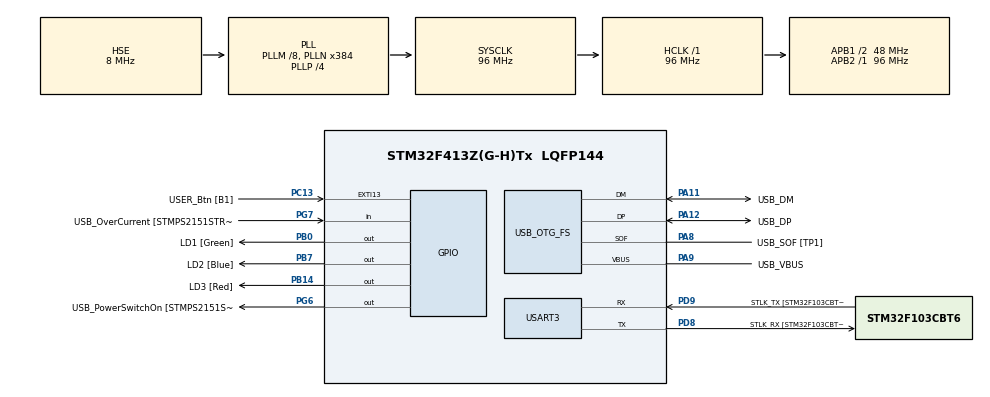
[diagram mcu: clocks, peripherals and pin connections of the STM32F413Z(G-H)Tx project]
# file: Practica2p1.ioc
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Mcu.Family=STM32F4
Mcu.Name=STM32F413Z(G-H)Tx
Mcu.Package=LQFP144
NVIC.PriorityGroup=NVIC_PRIORITYGROUP_4
PA10.GPIO_Label=USB_ID
PA10.Signal=USB_OTG_FS_ID
PA11.GPIO_Label=USB_DM
PA11.Mode=Device_Only
PA11.Signal=USB_OTG_FS_DM
PA12.GPIO_Label=USB_DP
PA12.Mode=Device_Only
PA12.Signal=USB_OTG_FS_DP
PA13.GPIO_Label=TMS
PA13.Mode=Serial_Wire
PA13.Signal=SYS_JTMS-SWDIO
PA14.GPIO_Label=TCK
PA14.Mode=Serial_Wire
PA14.Signal=SYS_JTCK-SWCLK
PA8.GPIO_Label=USB_SOF [TP1]
PA8.Mode=Activate_SOF_FS
PA8.Signal=USB_OTG_FS_SOF
PA9.GPIO_Label=USB_VBUS
PA9.Mode=Activate_VBUS
PA9.Signal=USB_OTG_FS_VBUS
PB0.GPIO_Label=LD1 [Green]
PB0.Signal=GPIO_Output
PB14.GPIO_Label=LD3 [Red]
PB14.Signal=GPIO_Output
PB3.GPIO_Label=SWO
PB3.Signal=SYS_JTDO-SWO
PB7.GPIO_Label=LD2 [Blue]
PB7.Signal=GPIO_Output
PC13.GPIO_Label=USER_Btn [B1]
PC13.Signal=GPXTI13
PC14-OSC32_IN.Mode=LSE-External-Oscillator
PC14-OSC32_IN.Signal=RCC_OSC32_IN
PC15-OSC32_OUT.Mode=LSE-External-Oscillator
PC15-OSC32_OUT.Signal=RCC_OSC32_OUT
PD8.GPIO_Label=STLK_RX [STM32F103CBT6_PA3]
PD8.Mode=Asynchronous
PD8.Signal=USART3_TX
PD9.GPIO_Label=STLK_TX [STM32F103CBT6_PA2]
PD9.Mode=Asynchronous
PD9.Signal=USART3_RX
PG6.GPIO_Label=USB_PowerSwitchOn [STMPS2151STR_EN]
PG6.Signal=GPIO_Output
PG7.GPIO_Label=USB_OverCurrent [STMPS2151STR_FAULT]
PG7.Signal=GPIO_Input
PH0\ -\ OSC_IN.GPIO_Label=MCO
PH0\ -\ OSC_IN.Mode=HSE-External-Clock-Source
PH0\ -\ OSC_IN.Signal=RCC_OSC_IN
PH1\ -\ OSC_OUT.Mode=HSE-External-Clock-Source
PH1\ -\ OSC_OUT.Signal=RCC_OSC_OUT
ProjectManager.HeapSize=0x200
ProjectManager.StackSize=0x400
ProjectManager.TargetToolchain=STM32CubeIDE
RCC.48MHZClocksFreq_Value=24000000
RCC.AHBFreq_Value=96000000
RCC.APB1CLKDivider=RCC_HCLK_DIV2
RCC.APB1Freq_Value=48000000
RCC.APB1TimFreq_Value=96000000
RCC.APB2Freq_Value=96000000
RCC.APB2TimFreq_Value=96000000
RCC.CortexFreq_Value=96000000
RCC.HCLKFreq_Value=96000000
RCC.HSE_VALUE=8000000
RCC.HSI_VALUE=16000000
RCC.PLLM=8
RCC.PLLMUL=RCC_PLL_MUL9
RCC.PLLN=384
RCC.PLLP=RCC_PLLP_DIV4
RCC.PLLQ=8
RCC.PRESCALERUSB=RCC_USBCLKSOURCE_PLL_DIV1_5
RCC.SYSCLKFreq_VALUE=96000000
RCC.SYSCLKSource=RCC_SYSCLKSOURCE_PLLCLK
RCC.SYSCLKSourceVirtual=RCC_SYSCLKSOURCE_PLLCLK
RCC.USBFreq_Value=48000000
RCC.VCOOutputFreq_Value=384000000
USART3.VirtualMode=VM_ASYNC
USB_OTG_FS.VirtualMode=Device_Only
board=NUCLEO-F413ZH

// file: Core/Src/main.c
/* USER CODE BEGIN Header */
/**
  ******************************************************************************
  * @file           : main.c
  * @brief          : Main program body
  ******************************************************************************
  * @attention
  *
  * Copyright (c) 2023 STMicroelectronics.
  * All rights reserved.
  *
  * This software is licensed under terms that can be found in the LICENSE file
  * in the root directory of this software component.
  * If no LICENSE file comes with this software, it is provided AS-IS.
  *
  ******************************************************************************
  */
/* USER CODE END Header */
#include "main.h"

UART_HandleTypeDef huart3;

PCD_HandleTypeDef hpcd_USB_OTG_FS;

void SystemClock_Config(void);
static void MX_GPIO_Init(void);
static void MX_USART3_UART_Init(void);
static void MX_USB_OTG_FS_PCD_Init(void);

int main(void)
{

  /* MCU Configuration--------------------------------------------------------*/

  /* Reset of all peripherals, Initializes the Flash interface and the Systick. */
  HAL_Init();

  /* Configure the system clock */
  SystemClock_Config();

  /* Initialize all configured peripherals */
  MX_GPIO_Init();
  MX_USART3_UART_Init();
  MX_USB_OTG_FS_PCD_Init();

  /* Infinite loop */
  while (1)
  {

  }
}

void SystemClock_Config(void)
{
  RCC_OscInitTypeDef RCC_OscInitStruct = {0};
  RCC_ClkInitTypeDef RCC_ClkInitStruct = {0};

  /** Configure the main internal regulator output voltage
  */
  __HAL_RCC_PWR_CLK_ENABLE();
  __HAL_PWR_VOLTAGESCALING_CONFIG(PWR_REGULATOR_VOLTAGE_SCALE1);

  /** Initializes the RCC Oscillators according to the specified parameters
  * in the RCC_OscInitTypeDef structure.
  */
  RCC_OscInitStruct.OscillatorType = RCC_OSCILLATORTYPE_HSE;
  RCC_OscInitStruct.HSEState = RCC_HSE_BYPASS;
  RCC_OscInitStruct.PLL.PLLState = RCC_PLL_ON;
  RCC_OscInitStruct.PLL.PLLSource = RCC_PLLSOURCE_HSE;
  RCC_OscInitStruct.PLL.PLLM = 8;
  RCC_OscInitStruct.PLL.PLLN = 384;
  RCC_OscInitStruct.PLL.PLLP = RCC_PLLP_DIV4;
  RCC_OscInitStruct.PLL.PLLQ = 8;
  RCC_OscInitStruct.PLL.PLLR = 2;
  if (HAL_RCC_OscConfig(&RCC_OscInitStruct) != HAL_OK)
  {
    Error_Handler();
  }

  /** Initializes the CPU, AHB and APB buses clocks
  */
  RCC_ClkInitStruct.ClockType = RCC_CLOCKTYPE_HCLK|RCC_CLOCKTYPE_SYSCLK
                              |RCC_CLOCKTYPE_PCLK1|RCC_CLOCKTYPE_PCLK2;
  RCC_ClkInitStruct.SYSCLKSource = RCC_SYSCLKSOURCE_PLLCLK;
  RCC_ClkInitStruct.AHBCLKDivider = RCC_SYSCLK_DIV1;
  RCC_ClkInitStruct.APB1CLKDivider = RCC_HCLK_DIV2;
  RCC_ClkInitStruct.APB2CLKDivider = RCC_HCLK_DIV1;

  if (HAL_RCC_ClockConfig(&RCC_ClkInitStruct, FLASH_LATENCY_3) != HAL_OK)
  {
    Error_Handler();
  }
}

static void MX_USART3_UART_Init(void)
{

  huart3.Instance = USART3;
  huart3.Init.BaudRate = 115200;
  huart3.Init.WordLength = UART_WORDLENGTH_8B;
  huart3.Init.StopBits = UART_STOPBITS_1;
  huart3.Init.Parity = UART_PARITY_NONE;
  huart3.Init.Mode = UART_MODE_TX_RX;
  huart3.Init.HwFlowCtl = UART_HWCONTROL_NONE;
  huart3.Init.OverSampling = UART_OVERSAMPLING_16;
  if (HAL_UART_Init(&huart3) != HAL_OK)
  {
    Error_Handler();
  }

}

static void MX_USB_OTG_FS_PCD_Init(void)
{

  hpcd_USB_OTG_FS.Instance = USB_OTG_FS;
  hpcd_USB_OTG_FS.Init.dev_endpoints = 6;
  hpcd_USB_OTG_FS.Init.speed = PCD_SPEED_FULL;
  hpcd_USB_OTG_FS.Init.dma_enable = DISABLE;
  hpcd_USB_OTG_FS.Init.phy_itface = PCD_PHY_EMBEDDED;
  hpcd_USB_OTG_FS.Init.Sof_enable = ENABLE;
  hpcd_USB_OTG_FS.Init.low_power_enable = DISABLE;
  hpcd_USB_OTG_FS.Init.lpm_enable = DISABLE;
  hpcd_USB_OTG_FS.Init.battery_charging_enable = ENABLE;
  hpcd_USB_OTG_FS.Init.vbus_sensing_enable = ENABLE;
  hpcd_USB_OTG_FS.Init.use_dedicated_ep1 = DISABLE;
  if (HAL_PCD_Init(&hpcd_USB_OTG_FS) != HAL_OK)
  {
    Error_Handler();
  }

}

static void MX_GPIO_Init(void)
{
  GPIO_InitTypeDef GPIO_InitStruct = {0};

  /* GPIO Ports Clock Enable */
  __HAL_RCC_GPIOC_CLK_ENABLE();
  __HAL_RCC_GPIOH_CLK_ENABLE();
  __HAL_RCC_GPIOB_CLK_ENABLE();
  __HAL_RCC_GPIOD_CLK_ENABLE();
  __HAL_RCC_GPIOG_CLK_ENABLE();
  __HAL_RCC_GPIOA_CLK_ENABLE();

  /*Configure GPIO pin Output Level */
  HAL_GPIO_WritePin(GPIOB, LD1_Pin|LD3_Pin|LD2_Pin, GPIO_PIN_RESET);

  /*Configure GPIO pin Output Level */
  HAL_GPIO_WritePin(USB_PowerSwitchOn_GPIO_Port, USB_PowerSwitchOn_Pin, GPIO_PIN_RESET);

  /*Configure GPIO pin : USER_Btn_Pin */
  GPIO_InitStruct.Pin = USER_Btn_Pin;
  GPIO_InitStruct.Mode = GPIO_MODE_IT_RISING;
  GPIO_InitStruct.Pull = GPIO_NOPULL;
  HAL_GPIO_Init(USER_Btn_GPIO_Port, &GPIO_InitStruct);

  /*Configure GPIO pins : LD1_Pin LD3_Pin LD2_Pin */
  GPIO_InitStruct.Pin = LD1_Pin|LD3_Pin|LD2_Pin;
  GPIO_InitStruct.Mode = GPIO_MODE_OUTPUT_PP;
  GPIO_InitStruct.Pull = GPIO_NOPULL;
  GPIO_InitStruct.Speed = GPIO_SPEED_FREQ_LOW;
  HAL_GPIO_Init(GPIOB, &GPIO_InitStruct);

  /*Configure GPIO pin : USB_PowerSwitchOn_Pin */
  GPIO_InitStruct.Pin = USB_PowerSwitchOn_Pin;
  GPIO_InitStruct.Mode = GPIO_MODE_OUTPUT_PP;
  GPIO_InitStruct.Pull = GPIO_NOPULL;
  GPIO_InitStruct.Speed = GPIO_SPEED_FREQ_LOW;
  HAL_GPIO_Init(USB_PowerSwitchOn_GPIO_Port, &GPIO_InitStruct);

  /*Configure GPIO pin : USB_OverCurrent_Pin */
  GPIO_InitStruct.Pin = USB_OverCurrent_Pin;
  GPIO_InitStruct.Mode = GPIO_MODE_INPUT;
  GPIO_InitStruct.Pull = GPIO_NOPULL;
  HAL_GPIO_Init(USB_OverCurrent_GPIO_Port, &GPIO_InitStruct);

}

/* USER CODE BEGIN 4 */

/* ========== Non-bloquing delay functions ========== */

void delayInit(delay_t *delay, tick_t duration)
{
	delay->duration = duration;
	delay->running = false;
}

bool_t delayRead(delay_t *delay)
{
	if (delay->running == false)
	{
		delay->running = true;
		delay->startTime = HAL_GetTick();
		return false;
	}
	else
	{
		if ((HAL_GetTick() - delay->startTime) < delay->duration)
		{
			return false;
		}
		else
		{
			delay->running = false;
			return true;
		}
	}
}

void delayWrite(delay_t *delay, tick_t duration)
{
	delay->duration = duration;
}

/* ============================================================ */

/* USER CODE END 4 */

void Error_Handler(void)
{
  __disable_irq();
  while (1)
  {
  }
}
